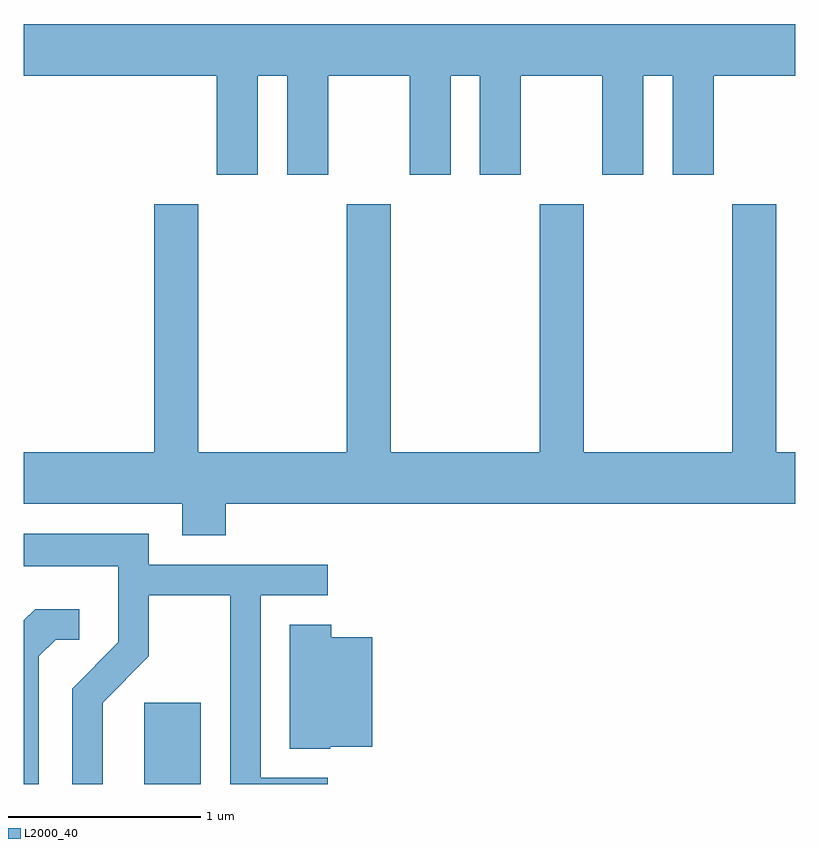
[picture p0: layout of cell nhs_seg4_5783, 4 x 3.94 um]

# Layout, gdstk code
import gdstk
lib = gdstk.Library(unit=1e-6, precision=1e-09)
def R(c, l, rs):  # rectangles x0, y0, x1, y1
    for r in rs: c.add(gdstk.rectangle(r[:2], r[2:], *l))
def P(c, l, *ps):  # polygons
    for p in ps: c.add(gdstk.Polygon(p, *l))
L2000_40 = (2000, 40)

nhs_seg4_5783 = lib.new_cell('nhs_seg4_5783')
R(nhs_seg4_5783, L2000_40, [(356.236,1259.982,356.529,1260.404)])
P(nhs_seg4_5783, L2000_40, [(355.611,1263.656),(356.611,1263.656),(356.611,1263.141),(356.824,1263.141),(356.824,1263.656),(356.976,1263.656),(356.976,1263.141),(357.189,1263.141),(357.189,1263.656),(357.611,1263.656),(357.611,1263.141),(357.824,1263.141),(357.824,1263.656),(357.976,1263.656),(357.976,1263.141),(358.189,1263.141),(358.189,1263.656),(358.611,1263.656),(358.611,1263.141),(358.824,1263.141),(358.824,1263.656),(358.976,1263.656),(358.976,1263.141),(359.189,1263.141),(359.189,1263.656),(359.611,1263.656),(359.611,1263.924),(355.611,1263.924)],
  [(356.659,1261.436),(359.611,1261.436),(359.611,1261.704),(359.514,1261.704),(359.514,1262.989),(359.286,1262.989),(359.286,1261.704),(358.514,1261.704),(358.514,1262.989),(358.286,1262.989),(358.286,1261.704),(357.514,1261.704),(357.514,1262.989),(357.286,1262.989),(357.286,1261.704),(356.514,1261.704),(356.514,1262.989),(356.286,1262.989),(356.286,1261.704),(355.611,1261.704),(355.611,1261.436),(356.431,1261.436),(356.431,1261.271),(356.659,1261.271)],
  [(356.019,1260.404),(356.259,1260.644),(356.259,1260.961),(356.681,1260.961),(356.681,1259.982),(357.188,1259.982),(357.188,1260.014),(356.839,1260.014),(356.839,1260.961),(357.188,1260.961),(357.188,1261.119),(356.259,1261.119),(356.259,1261.279),(355.611,1261.279),(355.611,1261.111),(356.101,1261.111),(356.101,1260.717),(355.861,1260.477),(355.861,1259.982),(356.019,1259.982)],
  [(355.689,1260.644),(355.777,1260.731),(355.898,1260.731),(355.898,1260.889),(355.669,1260.889),(355.611,1260.831),(355.611,1259.982),(355.689,1259.982)],
  [(357.2,1260.176),(357.419,1260.176),(357.419,1260.744),(357.204,1260.744),(357.204,1260.809),(356.991,1260.809),(356.991,1260.166),(357.2,1260.166)])

lib.write_gds('nhs_seg4_5783.gds')
